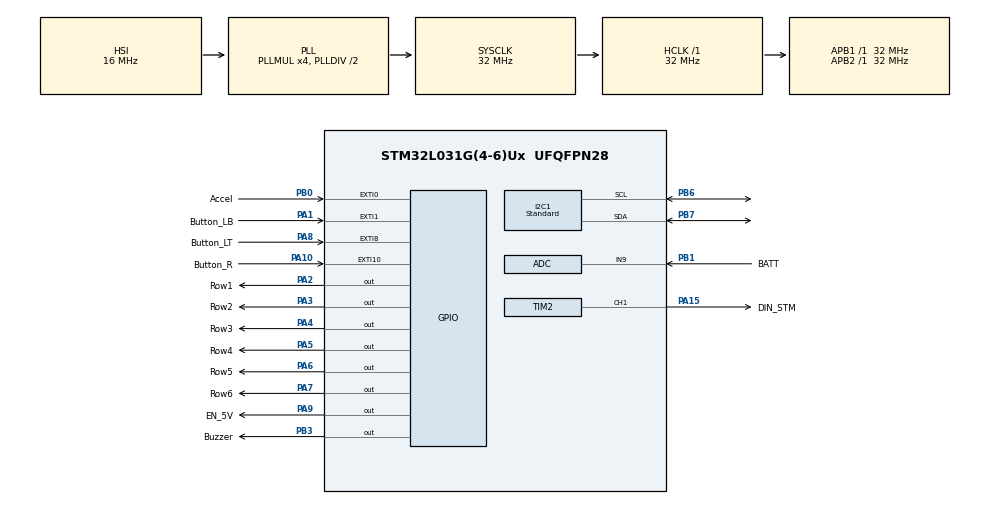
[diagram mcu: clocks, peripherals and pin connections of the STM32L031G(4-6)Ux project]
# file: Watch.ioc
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ADC.ClockPrescaler=ADC_CLOCK_SYNC_PCLK_DIV2
ADC.ContinuousConvMode=ENABLE
Dma.Request0=TIM2_CH1
Dma.TIM2_CH1.0.Direction=DMA_MEMORY_TO_PERIPH
Dma.TIM2_CH1.0.Instance=DMA1_Channel5
Dma.TIM2_CH1.0.MemDataAlignment=DMA_MDATAALIGN_HALFWORD
Dma.TIM2_CH1.0.MemInc=DMA_MINC_ENABLE
Dma.TIM2_CH1.0.Mode=DMA_CIRCULAR
Dma.TIM2_CH1.0.PeriphDataAlignment=DMA_PDATAALIGN_WORD
Dma.TIM2_CH1.0.PeriphInc=DMA_PINC_DISABLE
Dma.TIM2_CH1.0.Priority=DMA_PRIORITY_VERY_HIGH
I2C1.I2C_Speed_Mode=I2C_Standard
I2C1.Timing=0x00B07CB4
Mcu.Family=STM32L0
Mcu.Name=STM32L031G(4-6)Ux
Mcu.Package=UFQFPN28
NVIC.DMA1_Channel4_5_6_7_IRQn=true\:2\:0\:true\:false\:true\:false\:true\:true
NVIC.EXTI0_1_IRQn=true\:0\:0\:false\:false\:true\:true\:true\:true
NVIC.EXTI4_15_IRQn=true\:0\:0\:false\:false\:true\:true\:true\:true
PA1.GPIO_Label=Button_LB
PA1.Signal=GPXTI1
PA10.GPIO_Label=Button_R
PA10.Signal=GPXTI10
PA13.Mode=Serial_Wire
PA13.Signal=SYS_SWDIO
PA14.Mode=Serial_Wire
PA14.Signal=SYS_SWCLK
PA15.GPIO_Label=DIN_STM
PA15.Signal=S_TIM2_CH1
PA2.GPIO_Label=Row1
PA2.Signal=GPIO_Output
PA3.GPIO_Label=Row2
PA3.Signal=GPIO_Output
PA4.GPIO_Label=Row3
PA4.Signal=GPIO_Output
PA5.GPIO_Label=Row4
PA5.Signal=GPIO_Output
PA6.GPIO_Label=Row5
PA6.Signal=GPIO_Output
PA7.GPIO_Label=Row6
PA7.Signal=GPIO_Output
PA8.GPIO_Label=Button_LT
PA8.GPIO_ModeDefaultEXTI=GPIO_MODE_IT_RISING_FALLING
PA8.Signal=GPXTI8
PA9.GPIO_Label=EN_5V
PA9.Signal=GPIO_Output
PB0.GPIO_Label=Accel
PB0.Signal=GPXTI0
PB1.GPIO_Label=BATT
PB1.Mode=IN9
PB1.Signal=ADC_IN9
PB3.GPIO_Label=Buzzer
PB3.GPIO_ModeDefaultOutputPP=GPIO_MODE_OUTPUT_PP
PB3.GPIO_PuPd=GPIO_NOPULL
PB3.GPIO_Speed=GPIO_SPEED_FREQ_VERY_HIGH
PB3.Signal=GPIO_Output
PB6.GPIO_Pu=GPIO_PULLUP
PB6.Mode=I2C
PB6.Signal=I2C1_SCL
PB7.GPIO_Pu=GPIO_PULLUP
PB7.Mode=I2C
PB7.Signal=I2C1_SDA
PC14-OSC32_IN.Mode=LSE-External-Oscillator
PC14-OSC32_IN.Signal=RCC_OSC32_IN
PC15-OSC32_OUT.Mode=LSE-External-Oscillator
PC15-OSC32_OUT.Signal=RCC_OSC32_OUT
ProjectManager.HeapSize=0x200
ProjectManager.StackSize=0x400
ProjectManager.TargetToolchain=STM32CubeIDE
RCC.AHBFreq_Value=32000000
RCC.APB1Freq_Value=32000000
RCC.APB1TimFreq_Value=32000000
RCC.APB2Freq_Value=32000000
RCC.APB2TimFreq_Value=32000000
RCC.HCLKFreq_Value=32000000
RCC.HSE_VALUE=8000000
RCC.HSI16_VALUE=16000000
RCC.HSI_VALUE=16000000
RCC.MSI_VALUE=2097000
RCC.PLLMUL=RCC_PLLMUL_4
RCC.RTCClockSelection=RCC_RTCCLKSOURCE_LSE
RCC.RTCClockSelectionVirtual=RCC_RTCCLKSOURCE_LSE
RCC.SYSCLKFreq_VALUE=32000000
RCC.SYSCLKSource=RCC_SYSCLKSOURCE_PLLCLK
RCC.VCOOutputFreq_Value=64000000
RTC.Year=25
SH.S_TIM2_CH1.0=TIM2_CH1,PWM Generation1 CH1
TIM2.Channel-PWM\ Generation1\ CH1=TIM_CHANNEL_1
TIM2.OCFastMode_PWM-PWM\ Generation1\ CH1=TIM_OCFAST_ENABLE
TIM2.Period=60
VP_RTC_VS_RTC_Activate.Mode=RTC_Enabled
VP_RTC_VS_RTC_Calendar.Mode=RTC_Calendar
VP_TIM21_VS_ClockSourceINT.Mode=Internal
VP_TIM2_VS_ClockSourceINT.Mode=Internal
board=custom

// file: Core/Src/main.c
/* USER CODE BEGIN Header */
/**
  ******************************************************************************
  * @file           : main.c
  * @brief          : Main program body
  ******************************************************************************
  * @attention
  *
  * Copyright (c) 2025 STMicroelectronics.
  * All rights reserved.
  *
  * This software is licensed under terms that can be found in the LICENSE file
  * in the root directory of this software component.
  * If no LICENSE file comes with this software, it is provided AS-IS.
  *
  ******************************************************************************
  */
/* USER CODE END Header */
#include "main.h"

/* USER CODE BEGIN Includes */
#include "Din_LED.h"
#include "BMA400.h"
#include "stdbool.h"
#include <math.h>
/* USER CODE END Includes */

/* USER CODE BEGIN PD */
#define CHARLIE_START_PIN 2
#define CHARLIE_PIN_COUNT 6
#define PWM_CYCLE_LENGTH 255  // Max brightness

// Map index 0–5 to PA2–PA7
#define GET_PIN(index) (1 << (CHARLIE_START_PIN + (index)))
/* USER CODE END PD */

ADC_HandleTypeDef hadc;

I2C_HandleTypeDef hi2c1;

RTC_HandleTypeDef hrtc;

TIM_HandleTypeDef htim2;
TIM_HandleTypeDef htim21;
DMA_HandleTypeDef hdma_tim2_ch1;

/* USER CODE BEGIN PV */
#define MAX_LED 12
LEDs leds [MAX_LED + 3];
//rgb_color led_pattern[MAX_LED];
rgb_color time_pattern[MAX_LED];
rgb_color charging_pattern[MAX_LED];
rgb_color all_pattern[MAX_LED];
//rgb_color null_pattern[MAX_LED];
rgb_color none = {0, 0, 0, 0};
rgb_color all = {255, 255, 255, 190};

BMA400_Orient_t bma;
/* USER CODE END PV */

void SystemClock_Config(void);
static void MX_GPIO_Init(void);
static void MX_DMA_Init(void);
static void MX_ADC_Init(void);
static void MX_I2C1_Init(void);
static void MX_RTC_Init(void);
static void MX_TIM2_Init(void);
static void MX_TIM21_Init(void);
/* USER CODE BEGIN PFP */
void Charlieplex_Reset_All(void);
void Charlieplex_Light_LED(uint8_t highIndex, uint8_t lowIndex);
void Digital_show(uint8_t hours, uint8_t minutes, bool date);
void Digital_OnOff_show(uint8_t value);
void Init_BH1750FVI(void);
uint16_t BH1750_ReadLightLevel(void);
void BMA400_App_Init(void);
void delay_us (uint16_t us);
void beep(void);
/* USER CODE END PFP */

/* USER CODE BEGIN 0 */
uint8_t minutes = 15;
uint8_t hours = 6;
uint8_t wrist_move = 0;
uint8_t shifted_hours = 6;
uint16_t batteryVal = 0;
uint8_t shifted_minutes = 3;
bool showingLeds = false;
bool showingDigital = false;
bool changeTime = false;
bool changeColor = false;
bool charging = false;
bool shouldExitIf = false;
bool soundON = true;
bool simultaneousRB = false;
bool simulGuard = false;
volatile bool gameMoveUp   = false;
volatile bool gameMoveDown = false;
volatile bool gameShooting = false;

#define GAME_MAX_ENEMIES 3
typedef struct {
	int8_t  pos;
	int8_t  dir;       /* -1 = RIGHT type (toward LED 0), +1 = LEFT type (toward LED 6) */
	uint8_t colorIdx;
	bool    active;
} GameEnemy;

static const uint8_t rightArc[7] = {0, 11, 10, 9, 8, 7, 6};

/* Forward declarations for game functions */
static void     game_shoot_animation(uint8_t playerArcIdx);
static void     game_draw(uint8_t playerArcIdx, GameEnemy *enemies);
static void     game_spawn_enemy(GameEnemy *enemies, uint8_t *typeToggle, uint8_t *colorIdx);
static bool     game_tick_enemies(GameEnemy *enemies);
static void     game_shoot(uint8_t playerArcIdx, GameEnemy *enemies, uint8_t *killCount, uint16_t *score);
static uint32_t game_get_tick_rate(uint8_t killCount);
uint8_t toggler = false;
uint8_t RX_Buffer [1];
uint8_t x = 0;
uint8_t numPresses1 = 0;
uint8_t numPresses2 = 0;
uint8_t wristWake = 1;
uint8_t colorTheme = 0;
uint16_t lightLevel = 0;
/* USER CODE END 0 */

int main(void)
{

  /* USER CODE BEGIN 1 */
	rgb_color hour_color = {80, 255, 70, 255};
	rgb_color minut_color = {20, 90, 255, 255};
	//rgb_color red = {250, 0, 0, 4};
	//rgb_color blue = {0, 0, 250, 4};
	for (int i = 0; i < MAX_LED; i++) {
		all_pattern[i] = all;
	}
	__HAL_RCC_PWR_CLK_ENABLE();

	/* Clear Wakeup flag */
	__HAL_PWR_CLEAR_FLAG(PWR_FLAG_WU);

	/* Clear EXTI line 0 pending flag */
	__HAL_GPIO_EXTI_CLEAR_IT(GPIO_PIN_0);
  /* USER CODE END 1 */

  /* MCU Configuration--------------------------------------------------------*/

  /* Reset of all peripherals, Initializes the Flash interface and the Systick. */
  HAL_Init();

  /* Configure the system clock */
  SystemClock_Config();

  /* Initialize all configured peripherals */
  MX_GPIO_Init();
  MX_DMA_Init();
  MX_ADC_Init();
  MX_I2C1_Init();
  MX_RTC_Init();
  MX_TIM2_Init();
  MX_TIM21_Init();
  /* USER CODE BEGIN 2 */
  HAL_TIM_Base_Start(&htim21); // KDYZTAK ODSTRAN - ZATIM NIC NEDELA
  //HAL_TIM_PWM_Start(&htim2, TIM_CHANNEL_2);
  Charlieplex_Reset_All();
  Init_BH1750FVI();
  BMA400_App_Init();
  time_pattern[shifted_hours] = hour_color;
  time_pattern[shifted_minutes] = minut_color;

  __HAL_RTC_WRITEPROTECTION_DISABLE(&hrtc);
  RTC->ISR |= RTC_ISR_INIT;                    // Enter init mode -> stops counting
  while((RTC->ISR & RTC_ISR_INITF) == 0);      // Wait until ready
  __HAL_RTC_WRITEPROTECTION_ENABLE(&hrtc);
  /* USER CODE END 2 */

  /* Infinite loop */
  /* USER CODE BEGIN WHILE */
  while (1) {
	/* HAL_SuspendTick();
	HAL_PWR_EnterSTOPMode(PWR_LOWPOWERREGULATOR_ON, PWR_STOPENTRY_WFI);
	HAL_ResumeTick();
	*/
    HAL_ADC_Start(&hadc);

    HAL_ADC_PollForConversion(&hadc, HAL_MAX_DELAY);

    batteryVal = HAL_ADC_GetValue(&hadc);

    HAL_ADC_Stop(&hadc);

    if (batteryVal<=2100) {
    	showingLeds = false;
    	showingDigital = false;
    	charging = false;
    	changeTime = false;
    	changeColor = false;
    	wristWake = 0;
    	// Clear any pending EXTI0 before enabling
    	__HAL_GPIO_EXTI_CLEAR_IT(GPIO_PIN_0);
    	HAL_GPIO_DeInit(GPIOB, GPIO_PIN_0);
    }

	// CALCULATING TIME FROM MINUTE STACK --------------------
	if (showingLeds || showingDigital) {
	  RTC_TimeTypeDef time;
	  RTC_DateTypeDef date;
	  HAL_RTC_GetTime(&hrtc, &time, RTC_FORMAT_BIN);
	  HAL_RTC_GetDate(&hrtc, &date, RTC_FORMAT_BIN);
	  minutes = time.Minutes;
	  hours = time.Hours;

	  for (int i = 0; i < 12; i++) {
		  time_pattern[i] = none;
	  }
	  // Hodina nesedi u 58,59
	  if (minutes>=58) {
		  hours+=1;
	  }
	  shifted_hours = hours%12;
	  if (minutes>=58) {
		  hours-=1;
	  }
	  shifted_minutes = (minutes+2)/5;
	  if (shifted_minutes==12) {
		  shifted_minutes=0;
	  }
	}
	// RGB LEDS --------------------------------------------------------
	if (showingLeds && !charging) {
	  if (wrist_move==0) {
		  beep();
	  }
	  shouldExitIf = false;
	  while (HAL_GPIO_ReadPin(Button_R_GPIO_Port, Button_R_Pin)) {
		  x++;
		  if (x >= 100) {
			  changeTime = true;
			  shouldExitIf = true;
			  HAL_RTCEx_DeactivateWakeUpTimer(&hrtc);
			  __HAL_RTC_WAKEUPTIMER_CLEAR_FLAG(&hrtc, RTC_FLAG_WUTF);
			  break;
		  }
		  HAL_Delay(10);
	  }
	  HAL_Delay(250);
	  if (numPresses1>=2) {
		  soundON=!soundON;
		  beep();
		  for(int i = 0; i < 1000; i++){
			  Digital_OnOff_show(soundON);
		  }
		  Charlieplex_Reset_All();

		  showingLeds = false;
	  }
	  if (!shouldExitIf && showingLeds) {
		  if (shifted_hours==shifted_minutes) {
			  hour_color.a = BH1750_ReadLightLevel();
			  minut_color.a = BH1750_ReadLightLevel();
			  for (int i = 0; i < 4; i++) {
				  if (toggler) {
					  time_pattern[shifted_hours] = hour_color;
				  } else {
					  time_pattern[shifted_minutes] = minut_color;
				  }
				  HAL_Delay(100);
				  toggler = !toggler;

				  turn_spec_LEDs(leds, time_pattern);
				  HAL_TIM_PWM_Start_DMA(&htim2, TIM_CHANNEL_1, (uint32_t *)leds, (MAX_LED * 24) + 72);
				  HAL_Delay(300);
				  clear_LEDs(leds);
				  HAL_TIM_PWM_Start_DMA(&htim2, TIM_CHANNEL_1, (uint32_t *)leds, (MAX_LED * 24) + 72);
				  HAL_Delay(300);
				  clear_LEDs(leds);
				  HAL_TIM_PWM_Start_DMA(&htim2, TIM_CHANNEL_1, (uint32_t *)leds, (MAX_LED * 24) + 72);
				  HAL_Delay(50);
			  }
		  } else {
			  hour_color.a = BH1750_ReadLightLevel();
			  minut_color.a = BH1750_ReadLightLevel();
			  time_pattern[shifted_hours] = hour_color;
			  time_pattern[shifted_minutes] = minut_color;

			  turn_spec_LEDs(leds, time_pattern);
			  HAL_TIM_PWM_Start_DMA(&htim2, TIM_CHANNEL_1, (uint32_t *)leds, (MAX_LED * 24) + 72);
			  HAL_Delay(2200);

			  clear_LEDs(leds);//turn_spec_LEDs(leds, null_pattern);
			  HAL_TIM_PWM_Start_DMA(&htim2, TIM_CHANNEL_1, (uint32_t *)leds, (MAX_LED * 24) + 72);
			  HAL_Delay(50);
		  }

		  showingLeds = false;
	  }
	}

	// WRIST DIGITAL -------------------------------------
	if (showingDigital && wrist_move==1) {
	  for(int i = 0; i < 1000; i++){
		  Digital_show(hours, minutes,0);
	  }
	  showingDigital = false;
	  wrist_move = 0;
	}
	// DIGITAL LEDS ------------------------------------------------
	if (showingDigital && !charging) {
	  shouldExitIf = false;
	  clear_LEDs(leds);//turn_spec_LEDs(leds, null_pattern);
	  HAL_TIM_PWM_Start_DMA(&htim2, TIM_CHANNEL_1, (uint32_t *)leds, (MAX_LED * 24) + 72);
	  HAL_Delay(20);
	  while (HAL_GPIO_ReadPin(Button_LT_GPIO_Port, Button_LT_Pin)) {
		  x++;
		  if (x >= 100) {
			  charging = true;
			  shouldExitIf = true;
			  x=0;
			  break;
		  }
		  HAL_Delay(10);
	  }
	  while (HAL_GPIO_ReadPin(Button_LB_GPIO_Port, Button_LB_Pin)) {
		  x++;
		  if (x >= 100) {
			  changeColor = true;
			  shouldExitIf = true;
			  x=0;
			  break;
		  }
		  HAL_Delay(10);
	  }
	  numPresses1=0;
	  HAL_Delay(250);
	  if (wrist_move==0) {
		  beep();
	  }
	  if (numPresses1>=1) {
		  HAL_Delay(100);
		  numPresses1=0;
		  numPresses2=0;
		  while(numPresses1==0 && numPresses2==0) {
			  turn_spec_LEDs(leds, all_pattern);
			  HAL_TIM_PWM_Start_DMA(&htim2, TIM_CHANNEL_1, (uint32_t *)leds, (MAX_LED * 24) + 72);
			  HAL_Delay(10);
		  }
		  clear_LEDs(leds);//turn_spec_LEDs(leds, null_pattern);
		  HAL_TIM_PWM_Start_DMA(&htim2, TIM_CHANNEL_1, (uint32_t *)leds, (MAX_LED * 24) + 72);
		  HAL_Delay(150);

		  showingDigital=false;

	  } else if (numPresses2>=2) {
		  wristWake+=1;
		  wristWake=wristWake%3;
		  beep();
		  if (wristWake==1) {
			  GPIO_InitTypeDef GPIO_InitStruct = {0};
			  __HAL_RCC_GPIOB_CLK_ENABLE();

			  // Clear any pending EXTI0 before enabling
			  __HAL_GPIO_EXTI_CLEAR_IT(GPIO_PIN_0);

			  GPIO_InitStruct.Pin  = GPIO_PIN_0;
			  GPIO_InitStruct.Mode = GPIO_MODE_IT_RISING;
			  GPIO_InitStruct.Pull = GPIO_NOPULL;

			  HAL_GPIO_Init(GPIOB, &GPIO_InitStruct);
		  } else if (wristWake==0) {

			  // Clear any pending EXTI0 before enabling
			  __HAL_GPIO_EXTI_CLEAR_IT(GPIO_PIN_0);
			  HAL_GPIO_DeInit(GPIOB, GPIO_PIN_0);
		  }
		  for(int i = 0; i < 1000; i++){
			  Digital_OnOff_show(wristWake);
		  }
		  Charlieplex_Reset_All();

		  showingDigital = false;
	  }
	  if (!shouldExitIf && showingDigital) {
		  for(int i = 0; i < 1200; i++){
			  Digital_show(hours, minutes,0);
		  }
		  Charlieplex_Reset_All();
	  }
	  showingDigital = false;
	}
	// CHARGING WATCH ----------------------------------------------
	uint8_t prev_chargedLEDnum = 0xFF;
	while (charging) {
	  x++;
	  uint8_t chargedLEDnum = 0;
	  HAL_ADC_Start(&hadc);

	  HAL_ADC_PollForConversion(&hadc, HAL_MAX_DELAY);

	  batteryVal = HAL_ADC_GetValue(&hadc);

	  HAL_ADC_Stop(&hadc);
	  if (batteryVal > 2550) batteryVal = 2550;
	  if (batteryVal < 2100) batteryVal = 2100;
	  chargedLEDnum = (int)((batteryVal - 2100) * 12 / (2550 - 2100));
	  if (chargedLEDnum != prev_chargedLEDnum) {
		  prev_chargedLEDnum = chargedLEDnum;
		  rgb_color bat_color;
		  if (chargedLEDnum >= 10) {
			  bat_color = (rgb_color){0, 250, 0, 5};       // green
		  } else if (chargedLEDnum >= 7) {
			  bat_color = (rgb_color){250, 200, 0, 5};     // yellow
		  } else if (chargedLEDnum >= 4) {
			  bat_color = (rgb_color){255, 100, 0, 5};     // orange
		  } else {
			  bat_color = (rgb_color){255, 0, 0, 5};       // red
		  }
		  for (int i = 0; i < MAX_LED; i++) {
			  charging_pattern[i] = (i < chargedLEDnum) ? bat_color : none;
		  }
		  turn_spec_LEDs(leds, charging_pattern);
		  HAL_TIM_PWM_Start_DMA(&htim2, TIM_CHANNEL_1, (uint32_t *)leds, (MAX_LED * 24) + 72);
	  }
	  HAL_Delay(25);
	  if (x>=100) {
		  shouldExitIf = false;
		  charging = false;
		  showingDigital = false;
		  showingLeds = false;
		  clear_LEDs(leds);//turn_spec_LEDs(leds, null_pattern);
		  HAL_TIM_PWM_Start_DMA(&htim2, TIM_CHANNEL_1, (uint32_t *)leds, (MAX_LED * 24) + 72);
		  HAL_Delay(10);
		  clear_LEDs(leds);//turn_spec_LEDs(leds, null_pattern);
		  HAL_TIM_PWM_Start_DMA(&htim2, TIM_CHANNEL_1, (uint32_t *)leds, (MAX_LED * 24) + 72);
	  }
	}
	// CHANGING TIME ----------------------------------------------
	while(changeTime) {
	  //TIM2 ->CCR1 = 60;
	  //beep();
	/*
	  //TEST FOR POSITION X,Y,Z
	  int16_t x,y,z;
	  if (BMA400_ReadXYZ_Raw12(&bma, &x, &y, &z) == HAL_OK) {

	  }
	*/
	  hour_color.a = BH1750_ReadLightLevel();
	  minut_color.a = BH1750_ReadLightLevel();
	  time_pattern[shifted_hours] = hour_color;
	  time_pattern[shifted_minutes] = minut_color;
	  if (shifted_hours==shifted_minutes) {
		  if (toggler) {
			  time_pattern[shifted_hours] = hour_color;
		  } else {
			  time_pattern[shifted_minutes] = minut_color;
		  }
		  toggler = !toggler;
	  }
	  turn_spec_LEDs(leds, time_pattern);
	  HAL_TIM_PWM_Start_DMA(&htim2, TIM_CHANNEL_1, (uint32_t *)leds, (MAX_LED * 24) + 72);
	  for(int i = 0; i < 250; i++){
		  Digital_show(hours, minutes,0);
	  }
	  if (HAL_GPIO_ReadPin(Button_LT_GPIO_Port, Button_LT_Pin)) {
		  minutes++;
		  if (minutes >= 60) {
			minutes = 0;
		  }
		  shifted_minutes = (minutes+2)/5;
		  if (shifted_minutes==12) {
			  shifted_minutes=0;
		  }
		  if (shifted_minutes == 0) {
			  time_pattern[11] = none;
		  } else {
			  time_pattern[shifted_minutes-1] = none;
		  }
	  } else if (HAL_GPIO_ReadPin(Button_LB_GPIO_Port, Button_LB_Pin)) {
		  hours++;
		  if (hours >= 24) {
			  hours = 0;
		  }
		  shifted_hours = hours%12;//(hours<=6) ? hours+6 : hours-6;
		  if (shifted_hours == 0) {
			  time_pattern[11] = none;
		  } else {
			  time_pattern[shifted_hours-1] = none;
		  }
	  }
	  clear_LEDs(leds);
	  HAL_TIM_PWM_Start_DMA(&htim2, TIM_CHANNEL_1, (uint32_t *)leds, (MAX_LED * 24) + 72);
	  for(int i = 0; i < 250; i++){
		  Digital_show(hours, minutes,0);
	  }
	  if (HAL_GPIO_ReadPin(Button_LT_GPIO_Port, Button_LT_Pin)) {
		  minutes++;
		  if (minutes >= 60) {
			minutes = 0;
		  }
		  shifted_minutes = (minutes+2)/5;
		  if (shifted_minutes == 0) {
			  time_pattern[11] = none;
		  } else {
			  time_pattern[shifted_minutes-1] = none;
		  }
	  } else if (HAL_GPIO_ReadPin(Button_LB_GPIO_Port, Button_LB_Pin)) {
		  hours++;
		  if (hours >= 24) {
			  hours = 0;
		  }
		  shifted_hours = hours%12;//(hours<=6) ? hours+6 : hours-6;
		  if (shifted_hours == 0) {
			  time_pattern[11] = none;
		  } else {
			  time_pattern[shifted_hours-1] = none;
		  }
	  }

	}
	  // CHANGING COLOR ----------------------------------------------
	while(changeColor) {
	  //TIM2 ->CCR1 = 60;
	  //beep();
	  shouldExitIf = false;
	  if (colorTheme == 0) {
		  hour_color = (rgb_color){80, 255, 70, 250}; // green/cyan
		  minut_color = (rgb_color){20, 50, 255, 250}; // blue
	  } else if (colorTheme == 1) {
		  hour_color = (rgb_color){255, 10, 0, 250}; // red
		  minut_color = (rgb_color){250, 200, 0, 250}; // yellow
	  } else if (colorTheme == 2) {
		  hour_color = (rgb_color){255, 15, 50, 250}; // pink
		  minut_color = (rgb_color){144, 10, 255, 250}; // purple
	  } else if (colorTheme == 3) {
		  hour_color = (rgb_color){255, 10, 0, 250}; // red
		  minut_color = (rgb_color){20, 50, 255, 250}; // blue
	  } else if (colorTheme == 4) {
		  hour_color = (rgb_color){250, 200, 0, 250}; // yellow
		  minut_color = (rgb_color){20, 50, 255, 250}; // blue
	  } else {
		  hour_color = (rgb_color){144, 10, 255, 250}; // purple
		  minut_color = (rgb_color){0, 204, 0, 250}; // green
	  }
	  hour_color.a = BH1750_ReadLightLevel();
	  minut_color.a = BH1750_ReadLightLevel();
	  time_pattern[shifted_hours] = hour_color;
	  time_pattern[shifted_minutes] = minut_color;
	  if (shifted_hours==shifted_minutes) {
		  if (toggler) {
			  time_pattern[shifted_hours] = hour_color;
			  turn_spec_LEDs(leds, time_pattern);
			  HAL_TIM_PWM_Start_DMA(&htim2, TIM_CHANNEL_1, (uint32_t *)leds, (MAX_LED * 24) + 72);
			  HAL_Delay(250);
		  } else {
			  time_pattern[shifted_minutes] = minut_color;
			  turn_spec_LEDs(leds, time_pattern);
			  HAL_TIM_PWM_Start_DMA(&htim2, TIM_CHANNEL_1, (uint32_t *)leds, (MAX_LED * 24) + 72);
			  HAL_Delay(250);
		  }
		  toggler = !toggler;
	  }
	  turn_spec_LEDs(leds, time_pattern);
	  HAL_TIM_PWM_Start_DMA(&htim2, TIM_CHANNEL_1, (uint32_t *)leds, (MAX_LED * 24) + 72);
	  HAL_Delay(10);
	}

	// SIMULTANEOUS Button_R + Button_LB press — GAME
	while (simultaneousRB) {
		/* --- INIT --- */
		beep(); HAL_Delay(150); beep();

		GameEnemy gameEnemies[GAME_MAX_ENEMIES];
		for (int i = 0; i < GAME_MAX_ENEMIES; i++) gameEnemies[i].active = false;

		uint8_t playerArcIdx  = 3;   /* start at LED 9 */
		uint8_t  killCount    = 0;
		uint16_t score        = 0;
		uint8_t typeToggle    = 0;
		uint8_t colorCycleIdx = 0;
		bool    gameOver      = false;

		gameMoveUp   = false;
		gameMoveDown = false;
		gameShooting = false;

		HAL_GPIO_WritePin(EN_5V_GPIO_Port, EN_5V_Pin, 1);
		__HAL_RCC_DMA1_CLK_ENABLE();

		uint32_t lastEnemyTick = HAL_GetTick();
		uint32_t lastSpawnTick = HAL_GetTick();

		game_spawn_enemy(gameEnemies, &typeToggle, &colorCycleIdx);

		/* --- LOOP --- */
		while (simultaneousRB && !gameOver) {
			uint32_t now = HAL_GetTick();

			if (gameMoveUp)   { gameMoveUp   = false; if (playerArcIdx > 1) playerArcIdx--; }
			if (gameMoveDown) { gameMoveDown = false; if (playerArcIdx < 5) playerArcIdx++; }
			if (gameShooting) { gameShooting = false; game_shoot(playerArcIdx, gameEnemies, &killCount, &score); }

			if (now - lastEnemyTick >= game_get_tick_rate(killCount)) {
				lastEnemyTick = now;
				gameOver = game_tick_enemies(gameEnemies);
			}

			if (now - lastSpawnTick >= 5000) {
				lastSpawnTick = now;
				game_spawn_enemy(gameEnemies, &typeToggle, &colorCycleIdx);
				if (killCount >= 10)
					game_spawn_enemy(gameEnemies, &typeToggle, &colorCycleIdx);
			}

			game_draw(playerArcIdx, gameEnemies);
			HAL_Delay(10);
		}

		/* --- GAME OVER --- */
		if (gameOver) {
			clear_LEDs(leds);
			HAL_TIM_PWM_Start_DMA(&htim2, TIM_CHANNEL_1, (uint32_t *)leds, (MAX_LED * 24) + 72);
			HAL_Delay(200);
			beep(); HAL_Delay(150); beep();
			simultaneousRB = false;
		}
	}
	simulGuard = false;

	// TURN OFF - POWER SAVE MODE
	HAL_GPIO_WritePin(EN_5V_GPIO_Port, EN_5V_Pin, 0);
	HAL_Delay(50);
	// Enter Stop Mode
	__HAL_RCC_DMA1_CLK_DISABLE();
	x=0;
	wrist_move=0;
	numPresses1=0;
	numPresses2=0;
	TIM2 ->CCR1 = 0;
	HAL_SuspendTick();

	//HAL_PWR_EnableSleepOnExit();

	HAL_PWR_EnterSTOPMode(PWR_LOWPOWERREGULATOR_ON, PWR_STOPENTRY_WFI);
    /* USER CODE END WHILE */

  }
}

void SystemClock_Config(void)
{
  RCC_OscInitTypeDef RCC_OscInitStruct = {0};
  RCC_ClkInitTypeDef RCC_ClkInitStruct = {0};
  RCC_PeriphCLKInitTypeDef PeriphClkInit = {0};

  /** Configure the main internal regulator output voltage
  */
  __HAL_PWR_VOLTAGESCALING_CONFIG(PWR_REGULATOR_VOLTAGE_SCALE1);

  /** Configure LSE Drive Capability
  */
  HAL_PWR_EnableBkUpAccess();
  __HAL_RCC_LSEDRIVE_CONFIG(RCC_LSEDRIVE_LOW);

  /** Initializes the RCC Oscillators according to the specified parameters
  * in the RCC_OscInitTypeDef structure.
  */
  RCC_OscInitStruct.OscillatorType = RCC_OSCILLATORTYPE_HSI|RCC_OSCILLATORTYPE_LSE;
  RCC_OscInitStruct.LSEState = RCC_LSE_ON;
  RCC_OscInitStruct.HSIState = RCC_HSI_ON;
  RCC_OscInitStruct.HSICalibrationValue = RCC_HSICALIBRATION_DEFAULT;
  RCC_OscInitStruct.PLL.PLLState = RCC_PLL_ON;
  RCC_OscInitStruct.PLL.PLLSource = RCC_PLLSOURCE_HSI;
  RCC_OscInitStruct.PLL.PLLMUL = RCC_PLLMUL_4;
  RCC_OscInitStruct.PLL.PLLDIV = RCC_PLLDIV_2;
  if (HAL_RCC_OscConfig(&RCC_OscInitStruct) != HAL_OK)
  {
    Error_Handler();
  }

  /** Initializes the CPU, AHB and APB buses clocks
  */
  RCC_ClkInitStruct.ClockType = RCC_CLOCKTYPE_HCLK|RCC_CLOCKTYPE_SYSCLK
                              |RCC_CLOCKTYPE_PCLK1|RCC_CLOCKTYPE_PCLK2;
  RCC_ClkInitStruct.SYSCLKSource = RCC_SYSCLKSOURCE_PLLCLK;
  RCC_ClkInitStruct.AHBCLKDivider = RCC_SYSCLK_DIV1;
  RCC_ClkInitStruct.APB1CLKDivider = RCC_HCLK_DIV1;
  RCC_ClkInitStruct.APB2CLKDivider = RCC_HCLK_DIV1;

  if (HAL_RCC_ClockConfig(&RCC_ClkInitStruct, FLASH_LATENCY_1) != HAL_OK)
  {
    Error_Handler();
  }
  PeriphClkInit.PeriphClockSelection = RCC_PERIPHCLK_I2C1|RCC_PERIPHCLK_RTC;
  PeriphClkInit.I2c1ClockSelection = RCC_I2C1CLKSOURCE_PCLK1;
  PeriphClkInit.RTCClockSelection = RCC_RTCCLKSOURCE_LSE;
  if (HAL_RCCEx_PeriphCLKConfig(&PeriphClkInit) != HAL_OK)
  {
    Error_Handler();
  }
}

static void MX_ADC_Init(void)
{

  ADC_ChannelConfTypeDef sConfig = {0};

  /** Configure the global features of the ADC (Clock, Resolution, Data Alignment and number of conversion)
  */
  hadc.Instance = ADC1;
  hadc.Init.OversamplingMode = DISABLE;
  hadc.Init.ClockPrescaler = ADC_CLOCK_SYNC_PCLK_DIV2;
  hadc.Init.Resolution = ADC_RESOLUTION_12B;
  hadc.Init.SamplingTime = ADC_SAMPLETIME_1CYCLE_5;
  hadc.Init.ScanConvMode = ADC_SCAN_DIRECTION_FORWARD;
  hadc.Init.DataAlign = ADC_DATAALIGN_RIGHT;
  hadc.Init.ContinuousConvMode = ENABLE;
  hadc.Init.DiscontinuousConvMode = DISABLE;
  hadc.Init.ExternalTrigConvEdge = ADC_EXTERNALTRIGCONVEDGE_NONE;
  hadc.Init.ExternalTrigConv = ADC_SOFTWARE_START;
  hadc.Init.DMAContinuousRequests = DISABLE;
  hadc.Init.EOCSelection = ADC_EOC_SINGLE_CONV;
  hadc.Init.Overrun = ADC_OVR_DATA_PRESERVED;
  hadc.Init.LowPowerAutoWait = DISABLE;
  hadc.Init.LowPowerFrequencyMode = DISABLE;
  hadc.Init.LowPowerAutoPowerOff = DISABLE;
  if (HAL_ADC_Init(&hadc) != HAL_OK)
  {
    Error_Handler();
  }

  /** Configure for the selected ADC regular channel to be converted.
  */
  sConfig.Channel = ADC_CHANNEL_9;
  sConfig.Rank = ADC_RANK_CHANNEL_NUMBER;
  if (HAL_ADC_ConfigChannel(&hadc, &sConfig) != HAL_OK)
  {
    Error_Handler();
  }

}

static void MX_I2C1_Init(void)
{

  hi2c1.Instance = I2C1;
  hi2c1.Init.Timing = 0x00B07CB4;
  hi2c1.Init.OwnAddress1 = 0;
  hi2c1.Init.AddressingMode = I2C_ADDRESSINGMODE_7BIT;
  hi2c1.Init.DualAddressMode = I2C_DUALADDRESS_DISABLE;
  hi2c1.Init.OwnAddress2 = 0;
  hi2c1.Init.OwnAddress2Masks = I2C_OA2_NOMASK;
  hi2c1.Init.GeneralCallMode = I2C_GENERALCALL_DISABLE;
  hi2c1.Init.NoStretchMode = I2C_NOSTRETCH_DISABLE;
  if (HAL_I2C_Init(&hi2c1) != HAL_OK)
  {
    Error_Handler();
  }

  /** Configure Analogue filter
  */
  if (HAL_I2CEx_ConfigAnalogFilter(&hi2c1, I2C_ANALOGFILTER_ENABLE) != HAL_OK)
  {
    Error_Handler();
  }

  /** Configure Digital filter
  */
  if (HAL_I2CEx_ConfigDigitalFilter(&hi2c1, 0) != HAL_OK)
  {
    Error_Handler();
  }

}

static void MX_RTC_Init(void)
{

  RTC_TimeTypeDef sTime = {0};
  RTC_DateTypeDef sDate = {0};

  /** Initialize RTC Only
  */
  hrtc.Instance = RTC;
  hrtc.Init.HourFormat = RTC_HOURFORMAT_24;
  hrtc.Init.AsynchPrediv = 127;
  hrtc.Init.SynchPrediv = 255;
  hrtc.Init.OutPut = RTC_OUTPUT_DISABLE;
  hrtc.Init.OutPutRemap = RTC_OUTPUT_REMAP_NONE;
  hrtc.Init.OutPutPolarity = RTC_OUTPUT_POLARITY_HIGH;
  hrtc.Init.OutPutType = RTC_OUTPUT_TYPE_OPENDRAIN;
  if (HAL_RTC_Init(&hrtc) != HAL_OK)
  {
    Error_Handler();
  }

  /** Initialize RTC and set the Time and Date
  */
  sTime.Hours = 0x0;
  sTime.Minutes = 0x0;
  sTime.Seconds = 0x0;
  sTime.DayLightSaving = RTC_DAYLIGHTSAVING_NONE;
  sTime.StoreOperation = RTC_STOREOPERATION_RESET;
  if (HAL_RTC_SetTime(&hrtc, &sTime, RTC_FORMAT_BCD) != HAL_OK)
  {
    Error_Handler();
  }
  sDate.WeekDay = RTC_WEEKDAY_MONDAY;
  sDate.Month = RTC_MONTH_JANUARY;
  sDate.Date = 0x1;
  sDate.Year = 0x25;

  if (HAL_RTC_SetDate(&hrtc, &sDate, RTC_FORMAT_BCD) != HAL_OK)
  {
    Error_Handler();
  }

}

static void MX_TIM2_Init(void)
{

  TIM_ClockConfigTypeDef sClockSourceConfig = {0};
  TIM_MasterConfigTypeDef sMasterConfig = {0};
  TIM_OC_InitTypeDef sConfigOC = {0};

  htim2.Instance = TIM2;
  htim2.Init.Prescaler = 0;
  htim2.Init.CounterMode = TIM_COUNTERMODE_UP;
  htim2.Init.Period = 60;
  htim2.Init.ClockDivision = TIM_CLOCKDIVISION_DIV1;
  htim2.Init.AutoReloadPreload = TIM_AUTORELOAD_PRELOAD_DISABLE;
  if (HAL_TIM_Base_Init(&htim2) != HAL_OK)
  {
    Error_Handler();
  }
  sClockSourceConfig.ClockSource = TIM_CLOCKSOURCE_INTERNAL;
  if (HAL_TIM_ConfigClockSource(&htim2, &sClockSourceConfig) != HAL_OK)
  {
    Error_Handler();
  }
  if (HAL_TIM_PWM_Init(&htim2) != HAL_OK)
  {
    Error_Handler();
  }
  sMasterConfig.MasterOutputTrigger = TIM_TRGO_RESET;
  sMasterConfig.MasterSlaveMode = TIM_MASTERSLAVEMODE_DISABLE;
  if (HAL_TIMEx_MasterConfigSynchronization(&htim2, &sMasterConfig) != HAL_OK)
  {
    Error_Handler();
  }
  sConfigOC.OCMode = TIM_OCMODE_PWM1;
  sConfigOC.Pulse = 0;
  sConfigOC.OCPolarity = TIM_OCPOLARITY_HIGH;
  sConfigOC.OCFastMode = TIM_OCFAST_ENABLE;
  if (HAL_TIM_PWM_ConfigChannel(&htim2, &sConfigOC, TIM_CHANNEL_1) != HAL_OK)
  {
    Error_Handler();
  }
  HAL_TIM_MspPostInit(&htim2);

}

static void MX_TIM21_Init(void)
{

  TIM_ClockConfigTypeDef sClockSourceConfig = {0};
  TIM_MasterConfigTypeDef sMasterConfig = {0};

  htim21.Instance = TIM21;
  htim21.Init.Prescaler = 0;
  htim21.Init.CounterMode = TIM_COUNTERMODE_UP;
  htim21.Init.Period = 65535;
  htim21.Init.ClockDivision = TIM_CLOCKDIVISION_DIV1;
  htim21.Init.AutoReloadPreload = TIM_AUTORELOAD_PRELOAD_DISABLE;
  if (HAL_TIM_Base_Init(&htim21) != HAL_OK)
  {
    Error_Handler();
  }
  sClockSourceConfig.ClockSource = TIM_CLOCKSOURCE_INTERNAL;
  if (HAL_TIM_ConfigClockSource(&htim21, &sClockSourceConfig) != HAL_OK)
  {
    Error_Handler();
  }
  sMasterConfig.MasterOutputTrigger = TIM_TRGO_RESET;
  sMasterConfig.MasterSlaveMode = TIM_MASTERSLAVEMODE_DISABLE;
  if (HAL_TIMEx_MasterConfigSynchronization(&htim21, &sMasterConfig) != HAL_OK)
  {
    Error_Handler();
  }

}

static void MX_DMA_Init(void)
{

  /* DMA controller clock enable */
  __HAL_RCC_DMA1_CLK_ENABLE();

  /* DMA interrupt init */
  /* DMA1_Channel4_5_6_7_IRQn interrupt configuration */
  HAL_NVIC_SetPriority(DMA1_Channel4_5_6_7_IRQn, 2, 0);
  HAL_NVIC_EnableIRQ(DMA1_Channel4_5_6_7_IRQn);

}

static void MX_GPIO_Init(void)
{
  GPIO_InitTypeDef GPIO_InitStruct = {0};

  /* GPIO Ports Clock Enable */
  __HAL_RCC_GPIOC_CLK_ENABLE();
  __HAL_RCC_GPIOA_CLK_ENABLE();
  __HAL_RCC_GPIOB_CLK_ENABLE();

  /*Configure GPIO pin Output Level */
  HAL_GPIO_WritePin(GPIOA, Row1_Pin|Row2_Pin|Row3_Pin|Row4_Pin
                          |Row5_Pin|Row6_Pin|EN_5V_Pin, GPIO_PIN_RESET);

  /*Configure GPIO pin Output Level */
  HAL_GPIO_WritePin(Buzzer_GPIO_Port, Buzzer_Pin, GPIO_PIN_RESET);

  /*Configure GPIO pins : Button_LB_Pin Button_R_Pin */
  GPIO_InitStruct.Pin = Button_LB_Pin|Button_R_Pin;
  GPIO_InitStruct.Mode = GPIO_MODE_IT_RISING;
  GPIO_InitStruct.Pull = GPIO_NOPULL;
  HAL_GPIO_Init(GPIOA, &GPIO_InitStruct);

  /*Configure GPIO pins : Row1_Pin Row2_Pin Row3_Pin Row4_Pin
                           Row5_Pin Row6_Pin EN_5V_Pin */
  GPIO_InitStruct.Pin = Row1_Pin|Row2_Pin|Row3_Pin|Row4_Pin
                          |Row5_Pin|Row6_Pin|EN_5V_Pin;
  GPIO_InitStruct.Mode = GPIO_MODE_OUTPUT_PP;
  GPIO_InitStruct.Pull = GPIO_NOPULL;
  GPIO_InitStruct.Speed = GPIO_SPEED_FREQ_LOW;
  HAL_GPIO_Init(GPIOA, &GPIO_InitStruct);

  /*Configure GPIO pin : Accel_Pin */
  GPIO_InitStruct.Pin = Accel_Pin;
  GPIO_InitStruct.Mode = GPIO_MODE_IT_RISING;
  GPIO_InitStruct.Pull = GPIO_NOPULL;
  HAL_GPIO_Init(Accel_GPIO_Port, &GPIO_InitStruct);

  /*Configure GPIO pin : Button_LT_Pin */
  GPIO_InitStruct.Pin = Button_LT_Pin;
  GPIO_InitStruct.Mode = GPIO_MODE_IT_RISING_FALLING;
  GPIO_InitStruct.Pull = GPIO_NOPULL;
  HAL_GPIO_Init(Button_LT_GPIO_Port, &GPIO_InitStruct);

  /*Configure GPIO pin : Buzzer_Pin */
  GPIO_InitStruct.Pin = Buzzer_Pin;
  GPIO_InitStruct.Mode = GPIO_MODE_OUTPUT_PP;
  GPIO_InitStruct.Pull = GPIO_NOPULL;
  GPIO_InitStruct.Speed = GPIO_SPEED_FREQ_VERY_HIGH;
  HAL_GPIO_Init(Buzzer_GPIO_Port, &GPIO_InitStruct);

  /* EXTI interrupt init*/
  HAL_NVIC_SetPriority(EXTI0_1_IRQn, 0, 0);
  HAL_NVIC_EnableIRQ(EXTI0_1_IRQn);

  HAL_NVIC_SetPriority(EXTI4_15_IRQn, 0, 0);
  HAL_NVIC_EnableIRQ(EXTI4_15_IRQn);

}

/* USER CODE BEGIN 4 */

static void game_shoot_animation(uint8_t playerArcIdx) {
	typedef struct { uint8_t x; uint8_t y; } Pair;

	static const Pair p11[] = { {3,1},{4,1},{5,1},{2,3} };
	static const Pair p10[] = { {1,0},{3,1},{4,1},{5,1},{2,3},{5,4} };
	static const Pair p9[]  = { {2,1},{4,2},{0,4},{2,5} };
	static const Pair p8[]  = { {5,2},{1,4},{4,1},{5,1},{4,0},{0,2} };
	static const Pair p7[]  = { {5,2},{4,1},{5,1},{0,2} };

	const Pair *pattern;
	uint8_t len;

	switch (playerArcIdx) {
		case 1: pattern = p11; len = 4; break;
		case 2: pattern = p10; len = 6; break;
		case 3: pattern = p9;  len = 4; break;
		case 4: pattern = p8;  len = 6; break;
		case 5: pattern = p7;  len = 4; break;
		default: return;
	}

	for (int iter = 0; iter < 300; iter++) {
		for (uint8_t i = 0; i < len; i++) {
			Charlieplex_Light_LED(pattern[i].x, pattern[i].y);
		}
	}
	Charlieplex_Reset_All();
}

static void game_draw(uint8_t playerArcIdx, GameEnemy *enemies) {
	rgb_color game_pattern[MAX_LED];
	uint8_t brightness = BH1750_ReadLightLevel();

	for (int i = 0; i < MAX_LED; i++) game_pattern[i] = none;

	/* Borders — purple */
	rgb_color border;
	border.r = 144; border.g = 10; border.b = 255; border.a = brightness;
	game_pattern[0] = border;
	game_pattern[6] = border;

	/* Enemies — red, pink */
	static const uint8_t enemy_r[2] = {255, 255};
	static const uint8_t enemy_g[2] = { 10,  15};
	static const uint8_t enemy_b[2] = {  0,  50};
	for (int i = 0; i < GAME_MAX_ENEMIES; i++) {
		if (enemies[i].active) {
			uint8_t ci = enemies[i].colorIdx % 2;
			rgb_color ec;
			ec.r = enemy_r[ci]; ec.g = enemy_g[ci]; ec.b = enemy_b[ci]; ec.a = brightness;
			game_pattern[(uint8_t)enemies[i].pos] = ec;
		}
	}

	/* Player — blue (overrides border if standing on it) */
	rgb_color player;
	player.r = 20; player.g = 50; player.b = 255; player.a = brightness;
	game_pattern[rightArc[playerArcIdx]] = player;

	turn_spec_LEDs(leds, game_pattern);
	HAL_TIM_PWM_Start_DMA(&htim2, TIM_CHANNEL_1, (uint32_t *)leds, (MAX_LED * 24) + 72);
}

static void game_spawn_enemy(GameEnemy *enemies, uint8_t *typeToggle, uint8_t *colorIdx) {
	for (int i = 0; i < GAME_MAX_ENEMIES; i++) {
		if (!enemies[i].active) {
			enemies[i].pos      = (int8_t)(HAL_GetTick() % 3) + 2;
			enemies[i].dir      = (*typeToggle % 2 == 0) ? 1 : -1;
			enemies[i].colorIdx = *colorIdx % 2;
			enemies[i].active   = true;
			(*typeToggle)++;
			(*colorIdx)++;
			return;
		}
	}
}

/* Returns true if any enemy reached a border — game over */
static bool game_tick_enemies(GameEnemy *enemies) {
	for (int i = 0; i < GAME_MAX_ENEMIES; i++) {
		if (enemies[i].active) {
			enemies[i].pos += enemies[i].dir;
			if (enemies[i].pos == 0 || enemies[i].pos == 6) {
				return true;
			}
		}
	}
	return false;
}

static void game_shoot(uint8_t playerArcIdx, GameEnemy *enemies, uint8_t *killCount, uint16_t *score) {
	uint8_t targetLED = (rightArc[playerArcIdx] + 6) % 12;
	beep();
	game_shoot_animation(playerArcIdx);
	for (int i = 0; i < GAME_MAX_ENEMIES; i++) {
		if (enemies[i].active && (uint8_t)enemies[i].pos == targetLED) {
			enemies[i].active = false;
			(*killCount)++;
			*score += 10;
			game_draw(playerArcIdx, enemies);
			for (int j = 0; j < 500; j++) {
				Digital_show(*score / 100, *score % 100, 0);
			}
			Charlieplex_Reset_All();
			return;
		}
	}
}

static uint32_t game_get_tick_rate(uint8_t killCount) {
	uint32_t reductions = (killCount / 5) * 250;
	if (reductions >= 1000) return 2000;
	return 3000 - reductions;
}

void HAL_GPIO_EXTI_Callback(uint16_t GPIO_Pin) {
	//SystemClock_Config();
	//HAL_ResumeTick();
	if (!changeTime && !changeColor && !simultaneousRB) {
		SystemClock_Config();
		HAL_ResumeTick();
		//RCC->APB1ENR |= RCC_APB1ENR_PWREN;
		//PWR->CR |= PWR_CR_CWUF;
		//EXTI->PR = EXTI_PR_PR0;
		//HAL_PWR_DisableSleepOnExit();
		__HAL_RCC_DMA1_CLK_ENABLE();
	}

//	HAL_ADC_Start(&hadc);
//	HAL_ADC_PollForConversion(&hadc, HAL_MAX_DELAY);
//	batteryVal = HAL_ADC_GetValue(&hadc);
//	HAL_ADC_Stop(&hadc);
//	HAL_Delay(10);
//	batteryVal = HAL_ADC_GetValue(&hadc);
//	HAL_ADC_Stop(&hadc);
//	HAL_Delay(10);
//	batteryVal = HAL_ADC_GetValue(&hadc);
//	HAL_ADC_Stop(&hadc);
//	HAL_Delay(10);
	if (GPIO_Pin == Button_LB_Pin) {
		if (HAL_GPIO_ReadPin(Button_R_GPIO_Port, Button_R_Pin) && !changeTime && !changeColor) {
			if (!simulGuard) {
				simulGuard = true;
				simultaneousRB = !simultaneousRB;
			}
		} else if (simultaneousRB) {
			gameMoveDown = true;
		} else {
			numPresses2++;
			showingDigital = true;

			if (changeColor) {
				beep();
				colorTheme+=1;
				colorTheme=colorTheme%6;
			}
		}
    }

    if (GPIO_Pin == Button_LT_Pin) {
    	if (simultaneousRB) {
    		gameMoveUp = true;
    	} else {
    		numPresses1++;
    		showingDigital = true;
    	}
	}

	if (GPIO_Pin == Accel_Pin) {
		bool orient = false;

		if (BMA400_Orient_ReadIntStatus(&bma, &orient) == HAL_OK && orient) {

			int16_t x,y,z;
			if (BMA400_ReadXYZ_Raw12(&bma, &x, &y, &z) == HAL_OK) {

				// Choose which axis/sign corresponds to "screen toward me"
				// Example: Z positive. If your board shows negative, use _Z_NEG.
				if (BMA400_IsFaceToMe(x, y, z, BMA400_FACE_AXIS_Z_NEG, 800)) {
					if (wristWake==1) {
						showingDigital = true;
					} else {
						showingLeds = true;
					}
					wrist_move = 1;
				}
			}
			(void)BMA400_Orient_RearmReference(&bma, true);
		}
	}

    if (GPIO_Pin == Button_R_Pin) {
    	if (HAL_GPIO_ReadPin(Button_LB_GPIO_Port, Button_LB_Pin) && !changeTime && !changeColor) {
    		if (!simulGuard) {
    			simulGuard = true;
    			simultaneousRB = !simultaneousRB;
    		}
    	} else if (simultaneousRB && !changeTime && !changeColor) {
    		gameShooting = true;
    	} else {
    	numPresses1++;
		showingLeds = true;

    	if (changeTime) {
    		changeTime = false;
    		showingLeds = false;
    		showingDigital = false;
    		clear_LEDs(leds);//turn_spec_LEDs(leds, null_pattern);
    		HAL_TIM_PWM_Start_DMA(&htim2, TIM_CHANNEL_1, (uint32_t *)leds, (MAX_LED * 24) + 72);
    		/** Enable the WakeUp

    		if (HAL_RTCEx_SetWakeUpTimer_IT(&hrtc, 59, RTC_WAKEUPCLOCK_CK_SPRE_16BITS) != HAL_OK)
    		{
    			Error_Handler();
    		}
    		*/

    		RTC_TimeTypeDef sTime = {0};
    		RTC_DateTypeDef sDate = {0};

    		sTime.Hours = hours;
    		sTime.Minutes = minutes;
			if (HAL_RTC_SetTime(&hrtc, &sTime, RTC_FORMAT_BIN) != HAL_OK)
			{
				Error_Handler();
			}
			sDate.WeekDay = RTC_WEEKDAY_MONDAY;
			sDate.Month = RTC_MONTH_JANUARY;
			sDate.Date = 1;
			sDate.Year = 25;

			if (HAL_RTC_SetDate(&hrtc, &sDate, RTC_FORMAT_BIN) != HAL_OK)
			{
				Error_Handler();
			}
			__HAL_RTC_WRITEPROTECTION_DISABLE(&hrtc);
			RTC->ISR &= ~RTC_ISR_INIT;                   // Exit init mode -> starts counting
			__HAL_RTC_WRITEPROTECTION_ENABLE(&hrtc);

    	} else if (changeColor) {
    		changeColor = false;
    		showingLeds = false;
    		showingDigital = false;
    		clear_LEDs(leds);//turn_spec_LEDs(leds, null_pattern);
    		HAL_TIM_PWM_Start_DMA(&htim2, TIM_CHANNEL_1, (uint32_t *)leds, (MAX_LED * 24) + 72);
    	}
    	} // end else (not simultaneous)
	}
    /*
    if (GPIO_Pin == CHRG_Pin) {
		charging = true;
		showingLeds = false;
		showingDigital = false;
		beep();
	}
	*/

    //HAL_SuspendTick();
    //HAL_PWR_EnterSTOPMode(PWR_LOWPOWERREGULATOR_ON, PWR_STOPENTRY_WFI);
}
/*
void HAL_RTCEx_WakeUpTimerEventCallback(RTC_HandleTypeDef *hrtc) {

	//SystemClock_Config();
	//HAL_ResumeTick();
	//HAL_PWR_DisableSleepOnExit();
	//clear_LEDs(leds, MAX_LED);
	//HAL_TIM_PWM_Start_DMA(&htim2, TIM_CHANNEL_1, (uint32_t *)leds, (MAX_LED * 24) + 72);
	//HAL_Delay(50);

    minutes+=1;
}
*/
void Charlieplex_Reset_All(void) {
    GPIO_InitTypeDef GPIO_InitStruct = {0};

    GPIO_InitStruct.Mode = GPIO_MODE_INPUT;
    GPIO_InitStruct.Pull = GPIO_NOPULL;

    for (uint8_t i = 0; i < CHARLIE_PIN_COUNT; i++) {
        GPIO_InitStruct.Pin = GET_PIN(i);
        HAL_GPIO_Init(GPIOA, &GPIO_InitStruct);
    }
}

void Charlieplex_Light_LED(uint8_t highIndex, uint8_t lowIndex) {
    if (highIndex == lowIndex || highIndex >= CHARLIE_PIN_COUNT || lowIndex >= CHARLIE_PIN_COUNT)
        return;  // Invalid input

    Charlieplex_Reset_All();

    GPIO_InitTypeDef GPIO_InitStruct = {0};

    // Set high pin: output, high
    GPIO_InitStruct.Pin = GET_PIN(highIndex);
    GPIO_InitStruct.Mode = GPIO_MODE_OUTPUT_PP;
    GPIO_InitStruct.Pull = GPIO_NOPULL;
    HAL_GPIO_Init(GPIOA, &GPIO_InitStruct);
    HAL_GPIO_WritePin(GPIOA, GET_PIN(highIndex), GPIO_PIN_SET);

    // Set low pin: output, low
    GPIO_InitStruct.Pin = GET_PIN(lowIndex);
    HAL_GPIO_Init(GPIOA, &GPIO_InitStruct);
    HAL_GPIO_WritePin(GPIOA, GET_PIN(lowIndex), GPIO_PIN_RESET);
}

void Digital_show(uint8_t hoursD, uint8_t minutesD, bool date) {
	typedef struct {
		uint8_t x;
		uint8_t y;
	} Pair;

	static const Pair hour2[10][7] = {
		{ {1,0}, {2,0}, {3,0}, {4,0}, {5,0}, {0,1} },		// number 0
	    { {2,0}, {3,0} },									// number 1
	    { {1,0}, {2,0}, {2,1}, {5,0}, {4,0} },				// number 2
	    { {1,0}, {2,0}, {2,1}, {3,0}, {4,0} },				// number 3
	    { {0,1}, {2,0}, {2,1}, {3,0} },						// number 4
	    { {1,0}, {0,1}, {2,1}, {3,0}, {4,0} },				// number 5
	    { {1,0}, {0,1}, {2,1}, {5,0}, {4,0}, {3,0} },		// number 6
	    { {1,0}, {2,0}, {3,0} },							// number 7
	    { {1,0}, {2,0}, {3,0}, {4,0}, {5,0}, {0,1}, {2,1} },// number 8
	    { {1,0}, {2,0}, {3,0}, {4,0}, {0,1}, {2,1} }		// number 9
	};
	static const Pair hour1[10][7] = {
		{ {3,1}, {4,1}, {5,1}, {0,2}, {1,2}, {3,2} },		// number 0
		{ {4,1}, {5,1} },									// number 1
		{ {3,1}, {4,1}, {4,2}, {1,2}, {0,2} },				// number 2
		{ {3,1}, {4,1}, {4,2}, {5,1}, {0,2} },				// number 3
		{ {3,2}, {4,1}, {4,2}, {5,1} },						// number 4
		{ {3,1}, {3,2}, {4,2}, {5,1}, {0,2} },				// number 5
		{ {3,1}, {5,1}, {0,2}, {1,2}, {3,2}, {4,2} },		// number 6
		{ {3,1}, {4,1}, {5,1} },							// number 7
		{ {3,1}, {4,1}, {5,1}, {0,2}, {1,2}, {3,2}, {4,2} },// number 8
		{ {3,1}, {4,1}, {5,1}, {0,2}, {3,2}, {4,2} }		// number 9
	};
	static const Pair minute2[10][7] = {
		{ {5,2}, {0,3}, {1,3}, {2,3}, {4,3}, {5,3} },		// number 0
		{ {0,3}, {1,3} },									// number 1
		{ {5,2}, {0,3}, {0,4}, {4,3}, {2,3} },				// number 2
		{ {5,2}, {0,3}, {0,4}, {1,3}, {2,3} },				// number 3
		{ {5,3}, {0,3}, {0,4}, {1,3} },						// number 4
		{ {5,2}, {5,3}, {0,4}, {1,3}, {2,3} },				// number 5
		{ {5,2}, {5,3}, {0,4}, {4,3}, {1,3}, {2,3} },		// number 6
		{ {5,2}, {0,3}, {1,3} },							// number 7
		{ {5,2}, {0,3}, {1,3}, {2,3}, {4,3}, {5,3}, {0,4} },// number 8
		{ {5,2}, {0,3}, {1,3}, {2,3}, {5,3}, {0,4} }		// number 9
	};
	static const Pair minute1[10][7] = {
		{ {1,4}, {2,4}, {3,4}, {5,4}, {0,5}, {1,5} },		// number 0
		{ {2,4}, {3,4} },									// number 1
		{ {1,4}, {2,4}, {2,5}, {0,5}, {5,4} },				// number 2
		{ {1,4}, {2,4}, {2,5}, {3,4}, {5,4} },				// number 3
		{ {1,5}, {2,4}, {2,5}, {3,4} },						// number 4
		{ {1,4}, {1,5}, {2,5}, {3,4}, {5,4} },				// number 5
		{ {1,4}, {1,5}, {2,5}, {0,5}, {3,4}, {5,4} },		// number 6
		{ {1,4}, {2,4}, {3,4} },							// number 7
		{ {1,4}, {2,4}, {3,4}, {5,4}, {0,5}, {1,5}, {2,5} },// number 8
		{ {1,4}, {2,4}, {3,4}, {5,4}, {1,5}, {2,5} }		// number 9
	};
	static const uint8_t LED_len[10] = {6, 2, 5, 5, 4, 5, 6, 3, 7, 6};
	uint8_t hour_tens = hoursD / 10;
	uint8_t hour_ones = hoursD % 10;
	uint8_t minute_tens = minutesD / 10;
	uint8_t minute_ones = minutesD % 10;

	for (int i = 0; i < LED_len[hour_tens]; i++) {
		if (hour_tens != 0) {
			Charlieplex_Light_LED(hour2[hour_tens][i].x, hour2[hour_tens][i].y);
		}
	}
	for (int i = 0; i < LED_len[hour_ones]; i++) {
		Charlieplex_Light_LED(hour1[hour_ones][i].x, hour1[hour_ones][i].y);
	}
	for (int i = 0; i < LED_len[minute_tens]; i++) {
		Charlieplex_Light_LED(minute2[minute_tens][i].x, minute2[minute_tens][i].y);
	}
	for (int i = 0; i < LED_len[minute_ones]; i++) {
		Charlieplex_Light_LED(minute1[minute_ones][i].x, minute1[minute_ones][i].y);
	}
	Charlieplex_Reset_All();
}

void Digital_OnOff_show(uint8_t value) {
	typedef struct {
		uint8_t x;
		uint8_t y;
	} Pair;

	static const Pair O_slot0[] = {
		{1,0}, {2,0}, {3,0}, {4,0}, {5,0}, {0,1}
	};

	// "F" in slot1 (adjust if needed)
	static const Pair F_slot1[] = {
		{3,1}, {1,2},   // top bar
		{3,2},                 // left stem
		{4,2}                  // mid bar (small)
	};

	// "F" in slot2 (adjust if needed)
	static const Pair F_slot2[] = {
		{5,2}, {0,4},   // top bar
		{5,3},                 // left stem continuation
		{4,3}                  // mid bar (small)
	};

	// "N" in slot1 (adjust if needed)
	static const Pair N_slot1[] = {
		{1,2}, {3,1},          // left vertical
		{5,1}, {4,1},          // right vertical
		{3,2}                  // diagonal hint
	};

	// "L" in slot3 (adjust if needed)
	static const Pair L_slot3[] = {
		{5,4}, {0,5},
		{1,5}
	};
	static const uint8_t LED_len[10] = {6, 2, 5, 5, 4, 5, 6, 3, 7, 6}; // Pocet operaci na cislo - 0,1,2,3...

	if (value==0) {
		for (int i = 0; i < LED_len[0]; i++) {
			Charlieplex_Light_LED(O_slot0[i].x, O_slot0[i].y);
		}
		for (int i = 0; i < LED_len[4]; i++) { // F stejne LED jako 4
			Charlieplex_Light_LED(F_slot1[i].x, F_slot1[i].y);
		}
		for (int i = 0; i < LED_len[4]; i++) { // F stejne LED jako 4
			Charlieplex_Light_LED(F_slot2[i].x, F_slot2[i].y);
		}
	} else {
		for (int i = 0; i < LED_len[0]; i++) {
			Charlieplex_Light_LED(O_slot0[i].x, O_slot0[i].y);
		}
		for (int i = 0; i < LED_len[3]; i++) { // N stejne LED jako 3
			Charlieplex_Light_LED(N_slot1[i].x, N_slot1[i].y);
		}
		if (value==2) {
			for (int i = 0; i < LED_len[7]; i++) { // N stejne LED jako 3
				Charlieplex_Light_LED(L_slot3[i].x, L_slot3[i].y);
			}
		}
	}
	Charlieplex_Reset_All();
}

#define BH1750_ADDRESS         (0x23 << 1) // I2C 7-bit address shifted for HAL
#define BH1750_POWER_ON        0x01
#define BH1750_RESET           0x07
#define BH1750_CONT_H_RES_MODE 0x10 // Continuous high-res mode (1 lx resolution)
void Init_BH1750FVI(void) {
    uint8_t cmd;

    cmd = BH1750_POWER_ON;
    HAL_I2C_Master_Transmit(&hi2c1, BH1750_ADDRESS, &cmd, 1, HAL_MAX_DELAY);
    HAL_Delay(10);

    cmd = BH1750_RESET;
    HAL_I2C_Master_Transmit(&hi2c1, BH1750_ADDRESS, &cmd, 1, HAL_MAX_DELAY);
    HAL_Delay(10);

    cmd = BH1750_CONT_H_RES_MODE;
    HAL_I2C_Master_Transmit(&hi2c1, BH1750_ADDRESS, &cmd, 1, HAL_MAX_DELAY);
    HAL_Delay(200);  // Allow first reading to stabilize
}
uint16_t BH1750_ReadLightLevel(void) {
    uint8_t data[2];
    float lux_min = 50.0f;
	float lux_max = 60000.0f;
    HAL_I2C_Master_Receive(&hi2c1, BH1750_ADDRESS, data, 2, HAL_MAX_DELAY);

    float lux = (data[0] << 8) | data[1];
    lux = lux / 1.2; // Convert to lux according to datasheet: value / 1.2
    if (lux < lux_min) lux = lux_min;
    if (lux > lux_max) lux = lux_max;

    float b = (logf(lux) - logf(lux_min)) / (logf(lux_max) - logf(lux_min));
	return 2 + (uint8_t)(b * 250.0f);
}

void BMA400_App_Init(void)
{
    BMA400_Orient_Init(&bma, &hi2c1, 0x14);

    BMA400_OrientCfg_t cfg = {
        .threshold_lsb = 55,        // 32*8mg = 256mg (32)
        .duration_lsb  = 8,         // 5*10ms = 50ms (5)
        .use_lowpass_1hz = true,   // fast response (false)
        .int1_active_high = true,
        .int1_push_pull   = true,
        .non_latched      = true,
		.axis_mask = BMA400_AXIS_Z
    };

    (void)BMA400_Orient_EnableInt1(&bma, &cfg);
}
void delay_us (uint16_t us) {
	__HAL_TIM_SET_COUNTER(&htim21,0);
	while (__HAL_TIM_GET_COUNTER(&htim21) < us);
}
void beep(void) {
	if (soundON) {
		for(unsigned int i = 0; i < 10000; i++) {
		  HAL_GPIO_WritePin(Buzzer_GPIO_Port, Buzzer_Pin, 1);
		  delay_us(185);//185);
		  HAL_GPIO_WritePin(Buzzer_GPIO_Port, Buzzer_Pin, 0);
		  delay_us(185);//185);
		}
	}
}
/* USER CODE END 4 */

void Error_Handler(void)
{
  __disable_irq();
  while (1)
  {
  }
}
